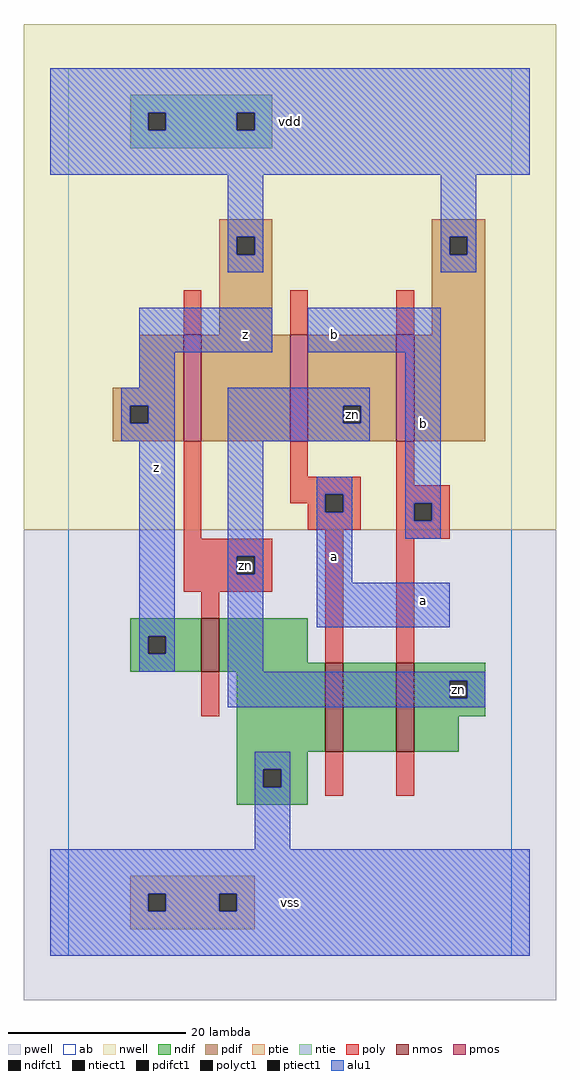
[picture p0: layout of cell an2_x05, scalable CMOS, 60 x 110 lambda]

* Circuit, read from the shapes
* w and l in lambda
.subckt an2_x05 a b vdd vss z zn
M1 vss zn z vss nfet w=6 l=2
M2 n1 a vss vss nfet w=10 l=2
M3 zn b n1 vss nfet w=10 l=2
M4 vdd zn z vdd pfet w=12 l=2
M5 zn a vdd vdd pfet w=12 l=2
M6 vdd b zn vdd pfet w=12 l=2
.ends

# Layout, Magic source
magic
tech scmos
<< ab >>
rect 0 0 50 100
<< nwell >>
rect -5 48 55 105
<< pwell >>
rect -5 -5 55 48
<< poly >>
rect 13 70 15 75
rect 25 70 27 75
rect 37 70 39 75
rect 13 47 15 58
rect 25 54 27 58
rect 25 52 33 54
rect 25 51 29 52
rect 27 50 29 51
rect 31 50 33 52
rect 27 48 33 50
rect 37 53 39 58
rect 37 51 43 53
rect 37 49 39 51
rect 41 49 43 51
rect 13 45 23 47
rect 13 43 19 45
rect 21 43 23 45
rect 13 41 23 43
rect 15 38 17 41
rect 29 33 31 48
rect 37 47 43 49
rect 37 33 39 47
rect 15 27 17 32
rect 29 18 31 23
rect 37 18 39 23
<< ndif >>
rect 7 36 15 38
rect 7 34 9 36
rect 11 34 15 36
rect 7 32 15 34
rect 17 33 27 38
rect 17 32 29 33
rect 19 23 29 32
rect 31 23 37 33
rect 39 31 47 33
rect 39 29 43 31
rect 45 29 47 31
rect 39 27 47 29
rect 39 23 44 27
rect 19 21 27 23
rect 19 19 22 21
rect 24 19 27 21
rect 19 17 27 19
<< pdif >>
rect 17 81 23 83
rect 17 79 19 81
rect 21 79 23 81
rect 17 70 23 79
rect 41 81 47 83
rect 41 79 43 81
rect 45 79 47 81
rect 41 70 47 79
rect 8 64 13 70
rect 5 62 13 64
rect 5 60 7 62
rect 9 60 13 62
rect 5 58 13 60
rect 15 58 25 70
rect 27 62 37 70
rect 27 60 31 62
rect 33 60 37 62
rect 27 58 37 60
rect 39 58 47 70
<< alu1 >>
rect -2 95 52 100
rect -2 93 9 95
rect 11 93 19 95
rect 21 93 52 95
rect -2 88 52 93
rect 18 81 22 88
rect 18 79 19 81
rect 21 79 22 81
rect 18 77 22 79
rect 42 81 46 88
rect 42 79 43 81
rect 45 79 46 81
rect 42 77 46 79
rect 8 68 23 73
rect 27 68 42 73
rect 8 64 12 68
rect 6 62 12 64
rect 6 60 7 62
rect 9 60 12 62
rect 6 58 12 60
rect 8 36 12 58
rect 8 34 9 36
rect 11 34 12 36
rect 8 32 12 34
rect 18 62 34 64
rect 18 60 31 62
rect 33 60 34 62
rect 18 58 34 60
rect 18 45 22 58
rect 18 43 19 45
rect 21 43 22 45
rect 18 32 22 43
rect 28 52 32 54
rect 28 50 29 52
rect 31 50 32 52
rect 28 42 32 50
rect 38 51 42 68
rect 38 49 39 51
rect 41 49 42 51
rect 38 47 42 49
rect 28 37 43 42
rect 18 31 47 32
rect 18 29 43 31
rect 45 29 47 31
rect 18 28 47 29
rect 21 21 25 23
rect 21 19 22 21
rect 24 19 25 21
rect 21 12 25 19
rect -2 7 52 12
rect -2 5 9 7
rect 11 5 17 7
rect 19 5 52 7
rect -2 0 52 5
<< ptie >>
rect 7 7 21 9
rect 7 5 9 7
rect 11 5 17 7
rect 19 5 21 7
rect 7 3 21 5
<< ntie >>
rect 7 95 23 97
rect 7 93 9 95
rect 11 93 19 95
rect 21 93 23 95
rect 7 91 23 93
<< nmos >>
rect 15 32 17 38
rect 29 23 31 33
rect 37 23 39 33
<< pmos >>
rect 13 58 15 70
rect 25 58 27 70
rect 37 58 39 70
<< polyct1 >>
rect 29 50 31 52
rect 39 49 41 51
rect 19 43 21 45
<< ndifct1 >>
rect 9 34 11 36
rect 43 29 45 31
rect 22 19 24 21
<< ntiect1 >>
rect 9 93 11 95
rect 19 93 21 95
<< ptiect1 >>
rect 9 5 11 7
rect 17 5 19 7
<< pdifct1 >>
rect 19 79 21 81
rect 43 79 45 81
rect 7 60 9 62
rect 31 60 33 62
<< labels >>
rlabel polyct1 20 44 20 44 6 zn
rlabel ndifct1 44 30 44 30 6 zn
rlabel pdifct1 32 61 32 61 6 zn
rlabel alu1 10 55 10 55 6 z
rlabel alu1 20 70 20 70 6 z
rlabel alu1 25 6 25 6 6 vss
rlabel alu1 30 45 30 45 6 a
rlabel alu1 30 70 30 70 6 b
rlabel alu1 25 94 25 94 6 vdd
rlabel alu1 40 40 40 40 6 a
rlabel alu1 40 60 40 60 6 b
<< end >>
